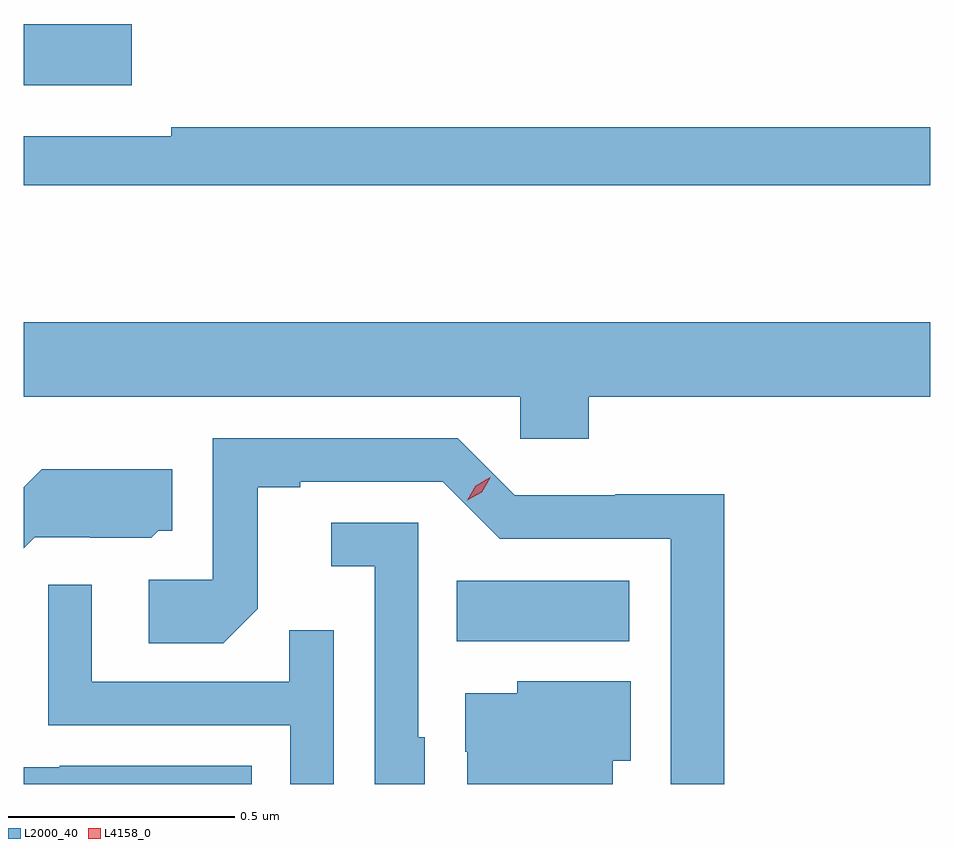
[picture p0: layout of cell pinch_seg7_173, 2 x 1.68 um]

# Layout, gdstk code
import gdstk
lib = gdstk.Library(unit=1e-6, precision=1e-09)
def R(c, l, rs):  # rectangles x0, y0, x1, y1
    for r in rs: c.add(gdstk.rectangle(r[:2], r[2:], *l))
def P(c, l, *ps):  # polygons
    for p in ps: c.add(gdstk.Polygon(p, *l))
L2000_40 = (2000, 40)
L4158_0 = (4158, 0)

pinch_seg7_173 = lib.new_cell('pinch_seg7_173')
R(pinch_seg7_173, L2000_40, [(1031.14,1000.076,1031.521,1000.21), (1030.185,1001.303,1030.423,1001.438)])
P(pinch_seg7_173, L2000_40, [(1032.185,1001.21),(1030.51,1001.21),(1030.51,1001.19),(1030.185,1001.19),(1030.185,1001.082),(1032.185,1001.082)],
  [(1031.432,1000.616),(1032.185,1000.616),(1032.185,1000.78),(1030.185,1000.78),(1030.185,1000.616),(1031.28,1000.616),(1031.28,1000.523),(1031.432,1000.523)],
  [(1031.731,1000.4),(1031.49,1000.4),(1031.49,1000.398),(1031.268,1000.398),(1031.142,1000.524),(1030.602,1000.524),(1030.602,1000.212),(1030.461,1000.212),(1030.461,1000.072),(1030.625,1000.072),(1030.701,1000.148),(1030.701,1000.416),(1030.795,1000.416),(1030.795,1000.428),(1031.109,1000.428),(1031.235,1000.302),(1031.612,1000.302),(1031.612,999.761),(1031.731,999.761)],
  [(1030.209,1000.305),(1030.332,1000.305),(1030.332,1000.304),(1030.466,1000.304),(1030.482,1000.32),(1030.513,1000.32),(1030.513,1000.456),(1030.225,1000.456),(1030.185,1000.416),(1030.185,1000.281)],
  [(1031.07,999.864),(1031.055,999.864),(1031.055,1000.338),(1030.863,1000.338),(1030.863,1000.241),(1030.959,1000.241),(1030.959,999.761),(1031.07,999.761)],
  [(1030.869,1000.1),(1030.771,1000.1),(1030.771,999.987),(1030.335,999.987),(1030.335,1000.201),(1030.239,1000.201),(1030.239,999.891),(1030.773,999.891),(1030.773,999.761),(1030.869,999.761)],
  [(1031.485,999.812),(1031.524,999.812),(1031.524,999.988),(1031.274,999.988),(1031.274,999.961),(1031.159,999.961),(1031.159,999.832),(1031.163,999.832),(1031.163,999.761),(1031.485,999.761)],
  [(1030.688,999.801),(1030.264,999.801),(1030.264,999.798),(1030.185,999.798),(1030.185,999.761),(1030.688,999.761)])
P(pinch_seg7_173, L4158_0, [(1031.164,1000.387),(1031.164,1000.387),(1031.182,1000.419),(1031.214,1000.438),(1031.214,1000.438),(1031.214,1000.437),(1031.196,1000.405),(1031.164,1000.387)])

lib.write_gds('pinch_seg7_173.gds')
